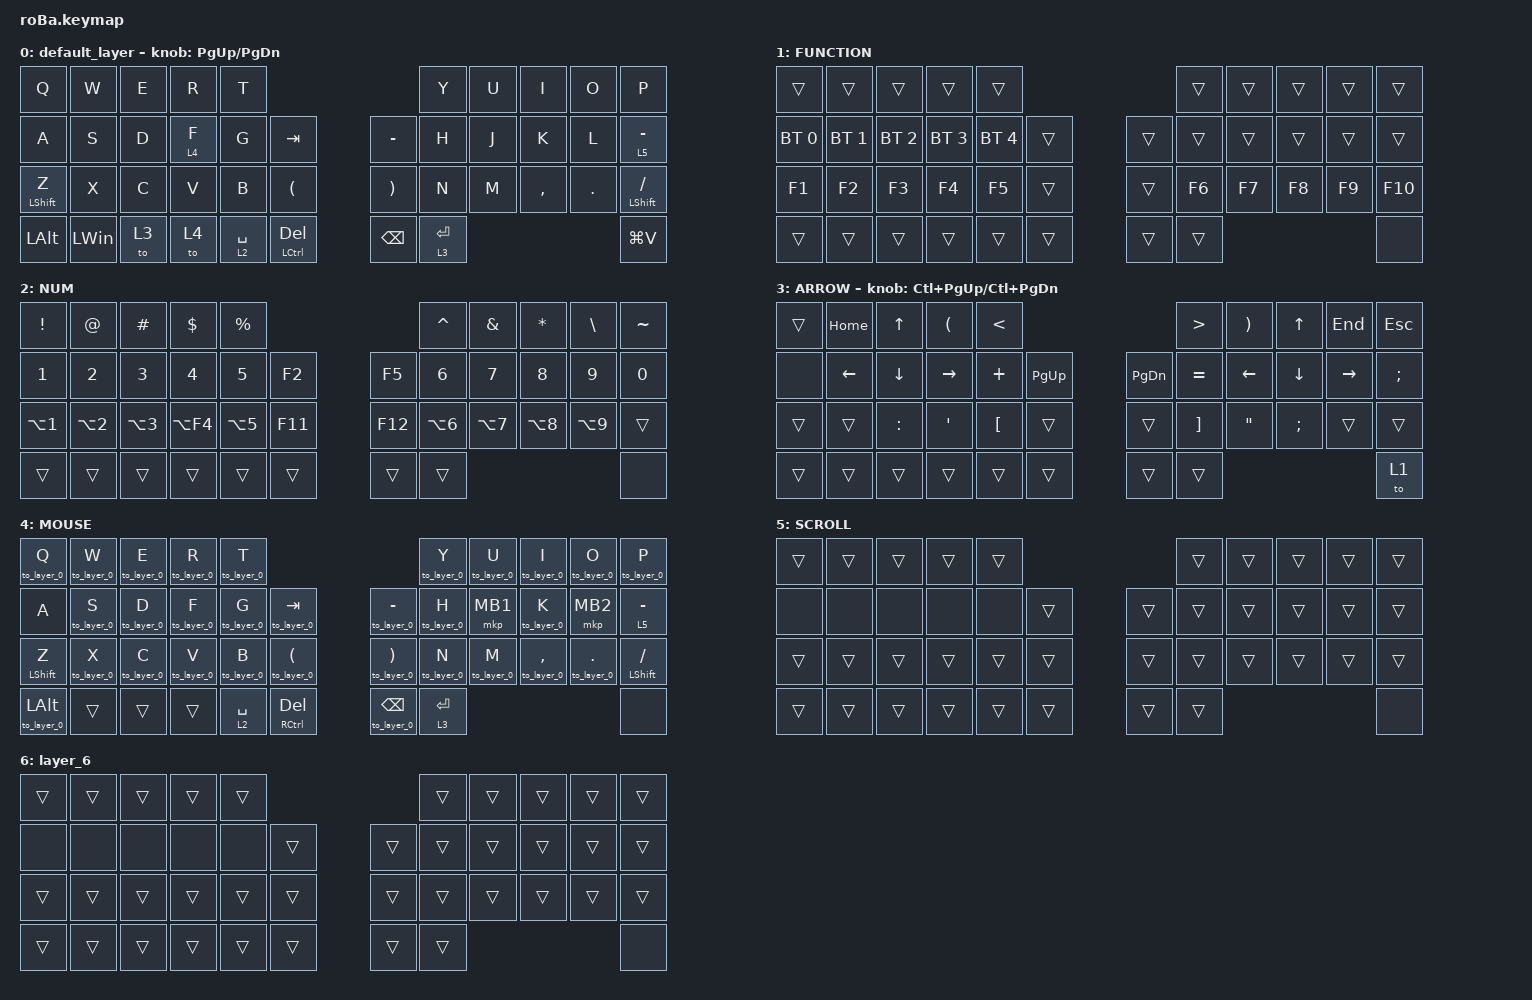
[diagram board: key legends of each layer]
#include <behaviors.dtsi>
#include <dt-bindings/zmk/bt.h>
#include <dt-bindings/zmk/keys.h>
#include <dt-bindings/zmk/pointing.h>

#define MOUSE 4
#define SCROLL 5
#define NUM 6

&mt {
    flavor = "balanced";
    quick-tap-ms = <0>;
};

/ {
    combos {
        compatible = "zmk,combos";

        henkan {
            bindings = <&henkan>;
            key-positions = <21 18>;
            layers = <0 4>;
        };

        prev_tab {
            bindings = <&kp LC(PAGE_DOWN)>;
            key-positions = <13 12>;
            layers = <0 4>;
        };

        next_tab {
            bindings = <&kp LC(PAGE_UP)>;
            key-positions = <11 12>;
            layers = <0 4>;
        };

        mouse_back {
            bindings = <&mkp MB4>;
            key-positions = <18 19>;
            layers = <0 4>;
        };

        mouse_next {
            bindings = <&mkp MB5>;
            key-positions = <19 20>;
            layers = <0 4>;
        };

        Ctrl+Shift {
            bindings = <&kp LC(LEFT_SHIFT)>;
            key-positions = <39 41>;
            layers = <0 3 2>;
        };

        tab {
            bindings = <&kp TAB>;
            key-positions = <0 10>;
            layers = <4 0 2 3>;
        };

        mb3Click {
            bindings = <&mkp MB3>;
            key-positions = <21 20>;
            layers = <4>;
        };
    };

    macros {
        to_layer_0: to_layer_0 {
            compatible = "zmk,behavior-macro-one-param";
            #binding-cells = <1>;
            bindings = <&to 0 &macro_param_1to1 &kp MACRO_PLACEHOLDER>;
            label = "TO_LAYER_0";
        };

        henkan: henkan {
            compatible = "zmk,behavior-macro";
            #binding-cells = <0>;
            bindings =
                <&macro_press>,
                <&kp LEFT_ALT>,
                <&macro_tap>,
                <&kp GRAVE>,
                <&macro_release>,
                <&kp LEFT_ALT>;

            label = "HENKAN";
        };
    };

    behaviors {
        lt_to_layer_0: lt_to_layer_0 {
            compatible = "zmk,behavior-hold-tap";
            label = "LAYER_TAP_TO_0";
            bindings = <&mo>, <&to_layer_0>;

            #binding-cells = <2>;
            tapping-term-ms = <200>;
        };
    };

    keymap {
        compatible = "zmk,keymap";

        default_layer {
            bindings = <
&kp Q             &kp W         &kp E  &kp R    &kp T                                                         &kp Y        &kp U  &kp I      &kp O    &kp P
&kp A             &kp S         &kp D  &lt 4 F  &kp G        &kp TAB                   &kp MINUS              &kp H        &kp J  &kp K      &kp L    &lt_to_layer_0 5 MINUS
&mt LEFT_SHIFT Z  &kp X         &kp C  &kp V    &kp B        &kp LEFT_PARENTHESIS      &kp RIGHT_PARENTHESIS  &kp N        &kp M  &kp COMMA  &kp DOT  &mt LEFT_SHIFT SLASH
&kp LEFT_ALT      &kp LEFT_WIN  &to 3  &to 4    &lt 2 SPACE  &mt LCTRL DEL             &kp BACKSPACE          &lt 3 ENTER                             &kp LG(V)
            >;

            sensor-bindings = <&inc_dec_kp PG_UP PAGE_DOWN>;
        };

        FUNCTION {
            bindings = <
&trans        &trans        &trans        &trans        &trans                            &trans  &trans  &trans  &trans  &trans
&bt BT_SEL 0  &bt BT_SEL 1  &bt BT_SEL 2  &bt BT_SEL 3  &bt BT_SEL 4  &trans      &trans  &trans  &trans  &trans  &trans  &trans
&kp F1        &kp F2        &kp F3        &kp F4        &kp F5        &trans      &trans  &kp F6  &kp F7  &kp F8  &kp F9  &kp F10
&trans        &trans        &trans        &trans        &trans        &trans      &trans  &trans                          &none
            >;
        };

        NUM {
            bindings = <
&kp EXCLAMATION   &kp AT_SIGN       &kp HASH          &kp DOLLAR    &kp PERCENT                        &kp CARET         &kp AMPERSAND  &kp ASTERISK  &kp BACKSLASH  &kp TILDE
&kp NUMBER_1      &kp NUMBER_2      &kp NUMBER_3      &kp NUMBER_4  &kp N5       &kp F2       &kp F5   &kp NUMBER_6      &kp N7         &kp N8        &kp N9         &kp NUMBER_0
&kp LA(NUMBER_1)  &kp LA(NUMBER_2)  &kp LA(NUMBER_3)  &kp LA(F4)    &kp LA(N5)   &kp F11      &kp F12  &kp LA(NUMBER_6)  &kp LA(N7)     &kp LA(N8)    &kp LA(N9)     &trans
&trans            &trans            &trans            &trans        &trans       &trans       &trans   &trans                                                        &none
            >;
        };

        ARROW {
            bindings = <
&trans  &kp HOME        &kp UP_ARROW    &kp LEFT_PARENTHESIS  &kp LESS_THAN                                     &kp GREATER_THAN   &kp RIGHT_PARENTHESIS  &kp UP_ARROW    &kp END          &kp ESC
&none   &kp LEFT_ARROW  &kp DOWN_ARROW  &kp RIGHT_ARROW       &kp PLUS          &kp PAGE_UP      &kp PAGE_DOWN  &kp EQUAL          &kp LEFT_ARROW         &kp DOWN_ARROW  &kp RIGHT_ARROW  &kp SEMICOLON
&trans  &trans          &kp COLON       &kp SINGLE_QUOTE      &kp LEFT_BRACKET  &trans           &trans         &kp RIGHT_BRACKET  &kp DOUBLE_QUOTES      &kp SEMI        &trans           &trans
&trans  &trans          &trans          &trans                &trans            &trans           &trans         &trans                                                                     &to 1
            >;

            sensor-bindings = <&inc_dec_kp LC(PAGE_UP) LC(PAGE_DOWN)>;
        };

        MOUSE {
            bindings = <
&to_layer_0 Q         &to_layer_0 W  &to_layer_0 E  &to_layer_0 R  &to_layer_0 T                                                                            &to_layer_0 Y           &to_layer_0 U  &to_layer_0 I      &to_layer_0 O       &to_layer_0 P
&kp A                 &to_layer_0 S  &to_layer_0 D  &to_layer_0 F  &to_layer_0 G           &to_layer_0 TAB                   &to_layer_0 MINUS              &to_layer_0 H           &mkp MB1       &to_layer_0 K      &mkp MB2            &lt_to_layer_0 5 MINUS
&mt LEFT_SHIFT Z      &to_layer_0 X  &to_layer_0 C  &to_layer_0 V  &to_layer_0 B           &to_layer_0 LEFT_PARENTHESIS      &to_layer_0 RIGHT_PARENTHESIS  &to_layer_0 N           &to_layer_0 M  &to_layer_0 COMMA  &to_layer_0 PERIOD  &mt LEFT_SHIFT SLASH
&to_layer_0 LEFT_ALT  &trans         &trans         &trans         &lt_to_layer_0 2 SPACE  &mt RCTRL DELETE                  &to_layer_0 BACKSPACE          &lt_to_layer_0 3 ENTER                                                        &none
            >;
        };

        SCROLL {
            bindings = <
&trans  &trans  &trans  &trans  &trans                      &trans  &trans  &trans  &trans  &trans
&none   &none   &none   &none   &none   &trans      &trans  &trans  &trans  &trans  &trans  &trans
&trans  &trans  &trans  &trans  &trans  &trans      &trans  &trans  &trans  &trans  &trans  &trans
&trans  &trans  &trans  &trans  &trans  &trans      &trans  &trans                          &none
            >;
        };

        layer_6 {
            bindings = <
&trans  &trans  &trans  &trans  &trans                      &trans  &trans  &trans  &trans  &trans
&none   &none   &none   &none   &none   &trans      &trans  &trans  &trans  &trans  &trans  &trans
&trans  &trans  &trans  &trans  &trans  &trans      &trans  &trans  &trans  &trans  &trans  &trans
&trans  &trans  &trans  &trans  &trans  &trans      &trans  &trans                          &none
            >;
        };
    };
};
